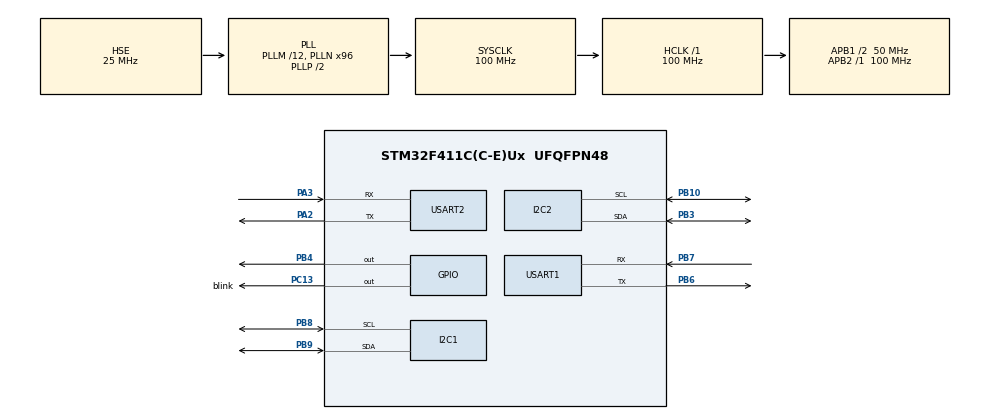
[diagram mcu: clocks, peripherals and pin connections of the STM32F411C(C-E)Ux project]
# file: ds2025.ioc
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I2C1.I2C_Mode=I2C_Fast
I2C2.I2C_Mode=I2C_Fast
Mcu.Family=STM32F4
Mcu.Name=STM32F411C(C-E)Ux
Mcu.Package=UFQFPN48
NVIC.PriorityGroup=NVIC_PRIORITYGROUP_4
NVIC.TIM2_IRQn=true\:15\:0\:false\:false\:true\:true\:true\:true
NVIC.TimeBase=TIM2_IRQn
NVIC.TimeBaseIP=TIM2
NVIC.USART1_IRQn=true\:0\:0\:false\:false\:true\:true\:true\:true
PA13.Mode=Serial_Wire
PA13.Signal=SYS_JTMS-SWDIO
PA14.Mode=Serial_Wire
PA14.Signal=SYS_JTCK-SWCLK
PA2.Mode=Asynchronous
PA2.Signal=USART2_TX
PA3.Mode=Asynchronous
PA3.Signal=USART2_RX
PB10.Mode=I2C
PB10.Signal=I2C2_SCL
PB3.Mode=I2C
PB3.Signal=I2C2_SDA
PB4.Signal=GPIO_Output
PB6.Mode=Asynchronous
PB6.Signal=USART1_TX
PB7.Mode=Asynchronous
PB7.Signal=USART1_RX
PB8.Mode=I2C
PB8.Signal=I2C1_SCL
PB9.Mode=I2C
PB9.Signal=I2C1_SDA
PC13-ANTI_TAMP.GPIO_Label=blink
PC13-ANTI_TAMP.Signal=GPIO_Output
PC14-OSC32_IN.Mode=LSE-External-Oscillator
PC14-OSC32_IN.Signal=RCC_OSC32_IN
PC15-OSC32_OUT.Mode=LSE-External-Oscillator
PC15-OSC32_OUT.Signal=RCC_OSC32_OUT
PH0\ -\ OSC_IN.Mode=HSE-External-Oscillator
PH0\ -\ OSC_IN.Signal=RCC_OSC_IN
PH1\ -\ OSC_OUT.Mode=HSE-External-Oscillator
PH1\ -\ OSC_OUT.Signal=RCC_OSC_OUT
ProjectManager.HeapSize=0x200
ProjectManager.StackSize=0x400
ProjectManager.TargetToolchain=STM32CubeIDE
RCC.48MHZClocksFreq_Value=50000000
RCC.AHBFreq_Value=100000000
RCC.APB1CLKDivider=RCC_HCLK_DIV2
RCC.APB1Freq_Value=50000000
RCC.APB1TimFreq_Value=100000000
RCC.APB2Freq_Value=100000000
RCC.APB2TimFreq_Value=100000000
RCC.CortexFreq_Value=100000000
RCC.HCLKFreq_Value=100000000
RCC.HSE_VALUE=25000000
RCC.HSI_VALUE=16000000
RCC.PLLM=12
RCC.PLLN=96
RCC.PLLSourceVirtual=RCC_PLLSOURCE_HSE
RCC.SYSCLKFreq_VALUE=100000000
RCC.SYSCLKSource=RCC_SYSCLKSOURCE_PLLCLK
RCC.VCOOutputFreq_Value=200000000
USART1.VirtualMode=VM_ASYNC
USART2.VirtualMode=VM_ASYNC
VP_SYS_VS_tim2.Mode=TIM2
board=custom

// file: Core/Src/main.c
/* USER CODE BEGIN Header */
/**
  ******************************************************************************
  * @file           : main.c
  * @brief          : Main program body
  ******************************************************************************
  * @attention
  *
  * Copyright (c) 2025 STMicroelectronics.
  * All rights reserved.
  *
  * This software is licensed under terms that can be found in the LICENSE file
  * in the root directory of this software component.
  * If no LICENSE file comes with this software, it is provided AS-IS.
  *
  ******************************************************************************
  */
/* USER CODE END Header */
#include "main.h"
#include "i2c.h"
#include "usart.h"
#include "gpio.h"

/* USER CODE BEGIN Includes */
#include "pool.h"
/* USER CODE END Includes */

void SystemClock_Config(void);

int main(void)
{

  /* MCU Configuration--------------------------------------------------------*/

  /* Reset of all peripherals, Initializes the Flash interface and the Systick. */
  HAL_Init();

  /* Configure the system clock */
  SystemClock_Config();

  /* USER CODE BEGIN SysInit */
  HAL_Delay(100);
  /* USER CODE END SysInit */

  /* Initialize all configured peripherals */
  MX_GPIO_Init();
  MX_USART1_UART_Init();
  MX_I2C1_Init();
  MX_I2C2_Init();
  MX_USART2_UART_Init();
  /* USER CODE BEGIN 2 */
  HAL_UART_Receive_IT(&huart1, &uart1_rx_byte, 1);
  MPU6050_Init(&hi2c2);
  HAL_Delay(10);
  mprintf("init\n");
  uint32_t refSpadCount;
  uint8_t isApertureSpads;
  uint8_t VhvSettings;
  uint8_t PhaseCal;
  Dev->I2cHandle = &hi2c1;
  Dev->I2cDevAddr = 0x52;
  VL53L0X_WaitDeviceBooted( Dev );
  VL53L0X_DataInit( Dev );
  VL53L0X_StaticInit( Dev );
  VL53L0X_PerformRefCalibration(Dev, &VhvSettings, &PhaseCal);
  VL53L0X_PerformRefSpadManagement(Dev, &refSpadCount, &isApertureSpads);
  VL53L0X_SetDeviceMode(Dev, VL53L0X_DEVICEMODE_SINGLE_RANGING);

  // Enable/Disable Sigma and Signal check
  VL53L0X_SetLimitCheckEnable(Dev, VL53L0X_CHECKENABLE_SIGMA_FINAL_RANGE, 1);
  VL53L0X_SetLimitCheckEnable(Dev, VL53L0X_CHECKENABLE_SIGNAL_RATE_FINAL_RANGE, 1);
  VL53L0X_SetLimitCheckValue(Dev, VL53L0X_CHECKENABLE_SIGNAL_RATE_FINAL_RANGE, (FixPoint1616_t)(0.1*65536));
  VL53L0X_SetLimitCheckValue(Dev, VL53L0X_CHECKENABLE_SIGMA_FINAL_RANGE, (FixPoint1616_t)(60*65536));
  VL53L0X_SetMeasurementTimingBudgetMicroSeconds(Dev, 20000);
  VL53L0X_SetVcselPulsePeriod(Dev, VL53L0X_VCSEL_PERIOD_PRE_RANGE, 18);
  VL53L0X_SetVcselPulsePeriod(Dev, VL53L0X_VCSEL_PERIOD_FINAL_RANGE, 14);
  mprintf("init done\n");
  /* USER CODE END 2 */

  /* Infinite loop */
  /* USER CODE BEGIN WHILE */
  while (1)
  {
    MPU6050_Read_All(&hi2c2,&mpu6050);
    VL53L0X_PerformSingleRangingMeasurement(Dev, &RangingData);
    if(RangingData.RangeStatus == 0) {
      tfDist = RangingData.RangeMilliMeter / 10.0f;
    }

    // mprintf(":%.2f,%d\n", angle_mix,RangingData.RangeMilliMeter);
//    mprintf("tfDist:%f);

    HAL_GPIO_TogglePin(GPIOC,GPIO_PIN_13);

    if(led_count > 0) {
      led_count -= 10;
      if (led_count < 50){
        HAL_GPIO_WritePin(GPIOB,GPIO_PIN_4,GPIO_PIN_SET);
      } else {
        HAL_GPIO_WritePin(GPIOB,GPIO_PIN_4,GPIO_PIN_RESET);
      }
    } else{
      HAL_GPIO_WritePin(GPIOB,GPIO_PIN_4,GPIO_PIN_RESET);
    }
    angle_mix = sqrt(pow(mpu6050.KalmanAngleX,2) + pow(mpu6050.KalmanAngleY,2));
    angle_sample_push(angle_mix);
    dist_sample_push(RangingData.RangeMilliMeter);
    switch(task_index){
      case 1:
        task1_count++;
        if (task1_count > 200){
          task1_count = 0;
          mprintf("系统开机\n");
        }
        break;
      case 2:
        detect_peaks_and_valleys2();
        if (task2_result != -1) {
          mprintf("长度l:%.2f\n", task2_result);
          task2_result = -1;
        }
        break;
      case 3:
        detect_peaks_and_valleys3();
        if (task3_result != -1) {
          mprintf("周期T:%.2fs\n", task3_result);
          task3_result = -1;
        }
        break;
      case 4:
        detect_vertical();
        if (task4_result != -1) {
          if (task4_fool != -1) {
            mprintf("角度a:%.2f\n", task4_fool + get_random_pm_half());
          } else {
            mprintf("角度a:%.2f\n", task4_result);
          }
          task4_result = -1;
        }
        break;
      case 5:
        detect_can();
        if (task5_result != -1) {
          mprintf("个数R:%.2f\n", task5_result);
          task5_result = -1;
        }
        break;
      case 9:
        mprintf(":%.2f,%d\n", angle_mix,RangingData.RangeMilliMeter);
        break;
    }
    /* USER CODE END WHILE */

  }
}

void SystemClock_Config(void)
{
  RCC_OscInitTypeDef RCC_OscInitStruct = {0};
  RCC_ClkInitTypeDef RCC_ClkInitStruct = {0};

  /** Configure the main internal regulator output voltage
  */
  __HAL_RCC_PWR_CLK_ENABLE();
  __HAL_PWR_VOLTAGESCALING_CONFIG(PWR_REGULATOR_VOLTAGE_SCALE1);

  /** Initializes the RCC Oscillators according to the specified parameters
  * in the RCC_OscInitTypeDef structure.
  */
  RCC_OscInitStruct.OscillatorType = RCC_OSCILLATORTYPE_HSE;
  RCC_OscInitStruct.HSEState = RCC_HSE_ON;
  RCC_OscInitStruct.PLL.PLLState = RCC_PLL_ON;
  RCC_OscInitStruct.PLL.PLLSource = RCC_PLLSOURCE_HSE;
  RCC_OscInitStruct.PLL.PLLM = 12;
  RCC_OscInitStruct.PLL.PLLN = 96;
  RCC_OscInitStruct.PLL.PLLP = RCC_PLLP_DIV2;
  RCC_OscInitStruct.PLL.PLLQ = 4;
  if (HAL_RCC_OscConfig(&RCC_OscInitStruct) != HAL_OK)
  {
    Error_Handler();
  }

  /** Initializes the CPU, AHB and APB buses clocks
  */
  RCC_ClkInitStruct.ClockType = RCC_CLOCKTYPE_HCLK|RCC_CLOCKTYPE_SYSCLK
                              |RCC_CLOCKTYPE_PCLK1|RCC_CLOCKTYPE_PCLK2;
  RCC_ClkInitStruct.SYSCLKSource = RCC_SYSCLKSOURCE_PLLCLK;
  RCC_ClkInitStruct.AHBCLKDivider = RCC_SYSCLK_DIV1;
  RCC_ClkInitStruct.APB1CLKDivider = RCC_HCLK_DIV2;
  RCC_ClkInitStruct.APB2CLKDivider = RCC_HCLK_DIV1;

  if (HAL_RCC_ClockConfig(&RCC_ClkInitStruct, FLASH_LATENCY_3) != HAL_OK)
  {
    Error_Handler();
  }
}

/* USER CODE BEGIN 4 */
void HAL_UART_RxCpltCallback(UART_HandleTypeDef *huart)
{
  if (huart->Instance == USART1)
  {
    if (uart1_rx_index < UART_RX_BUF_SIZE - 1)
    {
      uart1_rx_buf[uart1_rx_index++] = uart1_rx_byte;

      if (uart1_rx_byte == UART_RX_END_CHAR)
      {
        uart1_rx_done = 1;  // 标志位，主循环中处理
      }
    }
    else
    {
      uart1_rx_index = 0;  // 溢出保护，清空
    }

    if (uart1_rx_done)
    {
      process_uart1_buffer();
    }
    // 继续接收下一个字节
    HAL_UART_Receive_IT(&huart1, &uart1_rx_byte, 1);
  }
}
/* USER CODE END 4 */

void HAL_TIM_PeriodElapsedCallback(TIM_HandleTypeDef *htim)
{
  if (htim->Instance == TIM2)
  {
    HAL_IncTick();
  }
}

void Error_Handler(void)
{
  __disable_irq();
  while (1)
  {
  }
}
